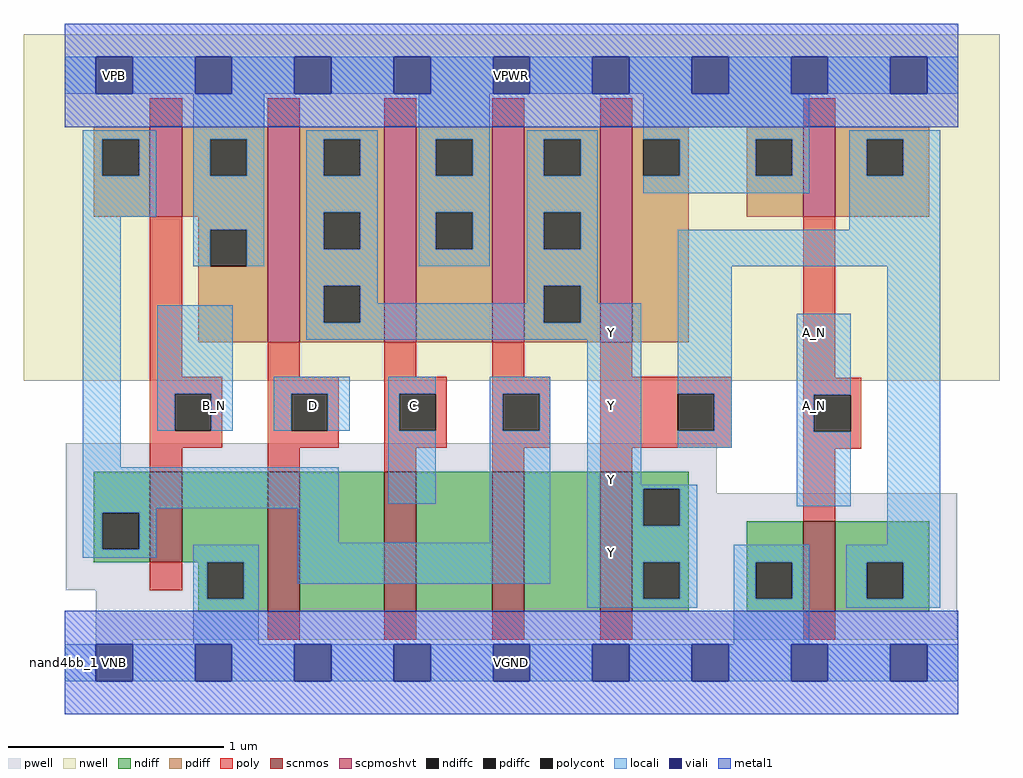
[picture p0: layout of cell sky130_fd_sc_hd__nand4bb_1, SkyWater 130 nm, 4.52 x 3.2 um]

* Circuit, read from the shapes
.subckt sky130_fd_sc_hd__nand4bb_1 A_N B_N C D VGND VNB VPB VPWR Y
XM1 VGND B_N n1 VNB sky130_fd_pr__nfet_01v8 w=0.42 l=0.15
XM2 n2 D VGND VNB sky130_fd_pr__nfet_01v8 w=0.65 l=0.15
XM3 n3 C n2 VNB sky130_fd_pr__nfet_01v8 w=0.65 l=0.15
XM4 n4 n1 n3 VNB sky130_fd_pr__nfet_01v8 w=0.65 l=0.15
XM5 Y n5 n4 VNB sky130_fd_pr__nfet_01v8 w=0.65 l=0.15
XM6 n5 A_N VGND VNB sky130_fd_pr__nfet_01v8 w=0.42 l=0.15
XM7 VPWR B_N n1 VPB sky130_fd_pr__pfet_01v8_hvt w=0.42 l=0.15
XM8 Y D VPWR VPB sky130_fd_pr__pfet_01v8_hvt w=1 l=0.15
XM9 VPWR C Y VPB sky130_fd_pr__pfet_01v8_hvt w=1 l=0.15
XM10 Y n1 VPWR VPB sky130_fd_pr__pfet_01v8_hvt w=1 l=0.15
XM11 VPWR n5 Y VPB sky130_fd_pr__pfet_01v8_hvt w=1 l=0.15
XM12 n5 A_N VPWR VPB sky130_fd_pr__pfet_01v8_hvt w=0.42 l=0.15
.ends

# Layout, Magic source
magic
tech sky130B
magscale 1 2
<< nwell >>
rect -38 261 866 582
<< pwell >>
rect 1 157 604 203
rect 1 67 827 157
rect 29 21 827 67
rect 29 -17 63 21
<< scnmos >>
rect 79 93 109 177
rect 188 47 218 177
rect 296 47 326 177
rect 396 47 426 177
rect 496 47 526 177
rect 684 47 714 131
<< scpmoshvt >>
rect 79 413 109 497
rect 188 297 218 497
rect 296 297 326 497
rect 396 297 426 497
rect 496 297 526 497
rect 684 413 714 497
<< ndiff >>
rect 27 139 79 177
rect 27 105 35 139
rect 69 105 79 139
rect 27 93 79 105
rect 109 93 188 177
rect 124 59 132 93
rect 166 59 188 93
rect 124 47 188 59
rect 218 47 296 177
rect 326 47 396 177
rect 426 47 496 177
rect 526 161 578 177
rect 526 127 536 161
rect 570 127 578 161
rect 526 93 578 127
rect 526 59 536 93
rect 570 59 578 93
rect 526 47 578 59
rect 632 93 684 131
rect 632 59 640 93
rect 674 59 684 93
rect 632 47 684 59
rect 714 93 801 131
rect 714 59 743 93
rect 777 59 801 93
rect 714 47 801 59
<< pdiff >>
rect 27 485 79 497
rect 27 451 35 485
rect 69 451 79 485
rect 27 413 79 451
rect 109 485 188 497
rect 109 451 135 485
rect 169 451 188 485
rect 109 413 188 451
rect 124 401 188 413
rect 124 367 135 401
rect 169 367 188 401
rect 124 297 188 367
rect 218 485 296 497
rect 218 451 240 485
rect 274 451 296 485
rect 218 417 296 451
rect 218 383 240 417
rect 274 383 296 417
rect 218 349 296 383
rect 218 315 240 349
rect 274 315 296 349
rect 218 297 296 315
rect 326 485 396 497
rect 326 451 344 485
rect 378 451 396 485
rect 326 417 396 451
rect 326 383 344 417
rect 378 383 396 417
rect 326 297 396 383
rect 426 485 496 497
rect 426 451 444 485
rect 478 451 496 485
rect 426 417 496 451
rect 426 383 444 417
rect 478 383 496 417
rect 426 349 496 383
rect 426 315 444 349
rect 478 315 496 349
rect 426 297 496 315
rect 526 485 578 497
rect 526 451 536 485
rect 570 451 578 485
rect 526 297 578 451
rect 632 485 684 497
rect 632 451 640 485
rect 674 451 684 485
rect 632 413 684 451
rect 714 485 801 497
rect 714 451 743 485
rect 777 451 801 485
rect 714 413 801 451
<< ndiffc >>
rect 35 105 69 139
rect 132 59 166 93
rect 536 127 570 161
rect 536 59 570 93
rect 640 59 674 93
rect 743 59 777 93
<< pdiffc >>
rect 35 451 69 485
rect 135 451 169 485
rect 135 367 169 401
rect 240 451 274 485
rect 240 383 274 417
rect 240 315 274 349
rect 344 451 378 485
rect 344 383 378 417
rect 444 451 478 485
rect 444 383 478 417
rect 444 315 478 349
rect 536 451 570 485
rect 640 451 674 485
rect 743 451 777 485
<< poly >>
rect 79 497 109 523
rect 188 497 218 523
rect 296 497 326 523
rect 396 497 426 523
rect 496 497 526 523
rect 684 497 714 523
rect 79 265 109 413
rect 188 265 218 297
rect 296 265 326 297
rect 396 265 426 297
rect 496 265 526 297
rect 79 249 146 265
rect 79 215 102 249
rect 136 215 146 249
rect 79 199 146 215
rect 188 249 254 265
rect 188 215 210 249
rect 244 215 254 249
rect 188 199 254 215
rect 296 249 354 265
rect 296 215 310 249
rect 344 215 354 249
rect 296 199 354 215
rect 396 249 450 265
rect 396 215 406 249
rect 440 215 450 249
rect 396 199 450 215
rect 496 249 618 265
rect 496 215 568 249
rect 602 215 618 249
rect 496 199 618 215
rect 684 264 714 413
rect 684 248 738 264
rect 684 214 694 248
rect 728 214 738 248
rect 79 177 109 199
rect 188 177 218 199
rect 296 177 326 199
rect 396 177 426 199
rect 496 177 526 199
rect 684 198 738 214
rect 79 67 109 93
rect 684 131 714 198
rect 188 21 218 47
rect 296 21 326 47
rect 396 21 426 47
rect 496 21 526 47
rect 684 21 714 47
<< polycont >>
rect 102 215 136 249
rect 210 215 244 249
rect 310 215 344 249
rect 406 215 440 249
rect 568 215 602 249
rect 694 214 728 248
<< locali >>
rect 0 527 29 561
rect 63 527 121 561
rect 155 527 213 561
rect 247 527 305 561
rect 339 527 397 561
rect 431 527 489 561
rect 523 527 581 561
rect 615 527 673 561
rect 707 527 765 561
rect 799 527 828 561
rect 17 485 85 493
rect 17 451 35 485
rect 69 451 85 485
rect 17 413 85 451
rect 119 485 185 527
rect 119 451 135 485
rect 169 451 185 485
rect 17 181 52 413
rect 119 401 185 451
rect 119 367 135 401
rect 169 367 185 401
rect 224 485 290 493
rect 224 451 240 485
rect 274 451 290 485
rect 224 417 290 451
rect 224 383 240 417
rect 274 383 290 417
rect 224 349 290 383
rect 328 485 394 527
rect 328 451 344 485
rect 378 451 394 485
rect 328 417 394 451
rect 328 383 344 417
rect 378 383 394 417
rect 328 367 394 383
rect 428 485 494 493
rect 428 451 444 485
rect 478 451 494 485
rect 428 417 494 451
rect 536 485 690 527
rect 570 451 640 485
rect 674 451 690 485
rect 536 435 690 451
rect 727 485 811 493
rect 727 451 743 485
rect 777 451 811 485
rect 428 383 444 417
rect 478 383 494 417
rect 727 401 811 451
rect 86 249 156 331
rect 224 315 240 349
rect 274 333 290 349
rect 428 349 494 383
rect 428 333 444 349
rect 274 315 444 333
rect 478 333 494 349
rect 568 367 811 401
rect 478 315 534 333
rect 224 299 534 315
rect 86 215 102 249
rect 136 215 156 249
rect 194 249 264 265
rect 194 215 210 249
rect 244 215 264 249
rect 300 249 344 265
rect 300 215 310 249
rect 17 143 254 181
rect 300 147 344 215
rect 394 249 450 265
rect 394 215 406 249
rect 440 215 450 249
rect 17 139 85 143
rect 17 105 35 139
rect 69 105 85 139
rect 216 111 254 143
rect 394 111 450 215
rect 17 97 85 105
rect 119 93 180 109
rect 119 59 132 93
rect 166 59 180 93
rect 216 73 450 111
rect 484 165 534 299
rect 568 249 618 367
rect 602 215 618 249
rect 568 199 618 215
rect 678 248 728 323
rect 678 214 694 248
rect 484 161 586 165
rect 484 127 536 161
rect 570 127 586 161
rect 678 145 728 214
rect 484 93 586 127
rect 762 109 811 367
rect 119 17 180 59
rect 484 59 536 93
rect 570 59 586 93
rect 484 51 586 59
rect 620 93 690 109
rect 620 59 640 93
rect 674 59 690 93
rect 620 17 690 59
rect 724 93 811 109
rect 724 59 743 93
rect 777 59 811 93
rect 724 51 811 59
rect 0 -17 29 17
rect 63 -17 121 17
rect 155 -17 213 17
rect 247 -17 305 17
rect 339 -17 397 17
rect 431 -17 489 17
rect 523 -17 581 17
rect 615 -17 673 17
rect 707 -17 765 17
rect 799 -17 828 17
<< viali >>
rect 29 527 63 561
rect 121 527 155 561
rect 213 527 247 561
rect 305 527 339 561
rect 397 527 431 561
rect 489 527 523 561
rect 581 527 615 561
rect 673 527 707 561
rect 765 527 799 561
rect 29 -17 63 17
rect 121 -17 155 17
rect 213 -17 247 17
rect 305 -17 339 17
rect 397 -17 431 17
rect 489 -17 523 17
rect 581 -17 615 17
rect 673 -17 707 17
rect 765 -17 799 17
<< metal1 >>
rect 0 561 828 592
rect 0 527 29 561
rect 63 527 121 561
rect 155 527 213 561
rect 247 527 305 561
rect 339 527 397 561
rect 431 527 489 561
rect 523 527 581 561
rect 615 527 673 561
rect 707 527 765 561
rect 799 527 828 561
rect 0 496 828 527
rect 0 17 828 48
rect 0 -17 29 17
rect 63 -17 121 17
rect 155 -17 213 17
rect 247 -17 305 17
rect 339 -17 397 17
rect 431 -17 489 17
rect 523 -17 581 17
rect 615 -17 673 17
rect 707 -17 765 17
rect 799 -17 828 17
rect 0 -48 828 -17
<< labels >>
flabel locali s 306 221 340 255 0 FreeSans 250 0 0 0 C
port 3 nsew signal input
flabel locali s 214 221 248 255 0 FreeSans 250 0 0 0 D
port 4 nsew signal input
flabel locali s 678 289 712 323 0 FreeSans 250 0 0 0 A_N
port 1 nsew signal input
flabel locali s 678 221 712 255 0 FreeSans 250 0 0 0 A_N
port 1 nsew signal input
flabel locali s 490 289 524 323 0 FreeSans 250 0 0 0 Y
port 9 nsew signal output
flabel locali s 490 221 524 255 0 FreeSans 250 0 0 0 Y
port 9 nsew signal output
flabel locali s 490 153 524 187 0 FreeSans 250 0 0 0 Y
port 9 nsew signal output
flabel locali s 122 221 156 255 0 FreeSans 250 0 0 0 B_N
port 2 nsew signal input
flabel locali s 490 85 524 119 0 FreeSans 250 0 0 0 Y
port 9 nsew signal output
flabel pwell s 29 -17 63 17 0 FreeSans 200 0 0 0 VNB
port 6 nsew ground bidirectional
flabel nwell s 29 527 63 561 0 FreeSans 200 0 0 0 VPB
port 7 nsew power bidirectional
flabel metal1 s 29 527 63 561 0 FreeSans 200 0 0 0 VPWR
port 8 nsew power bidirectional abutment
flabel metal1 s 29 -17 63 17 0 FreeSans 200 0 0 0 VGND
port 5 nsew ground bidirectional abutment
rlabel comment s 0 0 0 0 4 nand4bb_1
rlabel metal1 s 0 -48 828 48 1 VGND
port 5 nsew ground bidirectional abutment
rlabel metal1 s 0 496 828 592 1 VPWR
port 8 nsew power bidirectional abutment
<< properties >>
string FIXED_BBOX 0 0 828 544
string GDS_END 1928488
string GDS_FILE $PDKPATH/libs.ref/sky130_fd_sc_hd/gds/sky130_fd_sc_hd.gds
string GDS_START 1921332
string LEFclass CORE
string LEFsite unithd
string LEFsymmetry X Y R90
string path 0.000 0.000 20.700 0.000 
<< end >>
